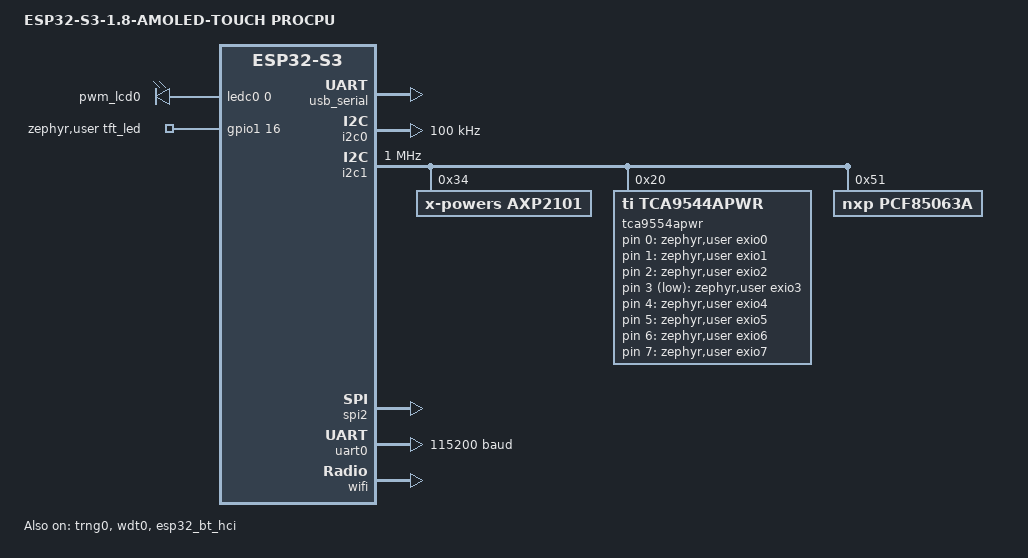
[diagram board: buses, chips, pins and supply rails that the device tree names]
/*
* Copyright (c) 2024 Joel Guittet
* SPDX-License-Identifier: Apache-2.0
*/

/dts-v1/;
#include <espressif/esp32s3/esp32s3_r8.dtsi>
#include "esp32s3_1_8_amoled_touch-pinctrl.dtsi"
#include <zephyr/dt-bindings/display/panel.h>
#include <zephyr/dt-bindings/input/input-event-codes.h>
#include <zephyr/dt-bindings/pwm/pwm.h>
#include <espressif/partitions_0x0_amp_16M.dtsi>

/* 16MB flash */
&flash0 {
    reg = <0x0 DT_SIZE_M(16)>;
};

&usb_serial {
    status = "okay";
};

/ {
    model = "ESP32-S3-1.8-AMOLED-TOUCH PROCPU";
    compatible = "waveshare,esp32-s3-1.8-amoled-touch";
    
    chosen {
        zephyr,sram = &sram1;
        zephyr,console = &usb_serial;
        zephyr,shell-uart = &usb_serial;
        zephyr,flash = &flash0;
        zephyr,code-partition = &slot0_partition;
        // zephyr,display = &st7789v_st7789v_waveshare_172_320;
        zephyr,bt-hci = &esp32_bt_hci;
    };
    
    aliases {
        i2c-0 = &i2c0;
        i2c-1 = &i2c1;
        pwm-0 = &ledc0;
        pwm-lcd0 = &pwm_lcd0;
        uart-0 = &uart0;
        watchdog0 = &wdt0;
    };
    
    /* PWM */
    pwmleds {
        compatible = "pwm-leds";
        pwm_lcd0: pwm_lcd0 {
            pwms = <&ledc0 0 PWM_HZ(250) PWM_POLARITY_NORMAL>;
        };
    };
    
    zephyr,user {
        tft_led-gpios = <&gpio1 16 GPIO_ACTIVE_HIGH>;
    };
    
    // mipi_dsi_qspi {
    //     compatible = "zephyr,mipi-dbi-spi";
    //     spi-dev = <&spi2>;
    // };
};

&gpio0 {
    status = "okay";
};

&gpio1 {
    status = "okay";
};

&i2c0 {
    status = "okay";
    clock-frequency = <I2C_BITRATE_STANDARD>;
    pinctrl-0 = <&i2c0_default>;
    pinctrl-names = "default";
};

&i2c1 {
    status = "okay";
    clock-frequency = <I2C_BITRATE_FAST_PLUS>;
    pinctrl-0 = <&i2c1_default>;
    pinctrl-names = "default";
    
    
};

&ledc0 {
    status = "disabled";
    pinctrl-0 = <&ledc0_default>;
    pinctrl-names = "default";
    #address-cells = <1>;
    #size-cells = <0>;
};

&spi2 {
    status = "okay";
    #address-cells = <1>;
    #size-cells = <0>;
    pinctrl-0 = <&spim2_default>;
    pinctrl-names = "default";
};

&trng0 {
    status = "okay";
};

&uart0 {
    status = "okay";
    current-speed = <115200>;
    pinctrl-0 = <&uart0_default>;
    pinctrl-names = "default";
};

&wdt0 {
    status = "okay";
};

&esp32_bt_hci {
    status = "okay";
};

&wifi {
    status = "okay";
};

/* ================================================================ */
/* AX2101 Charger PMIC */
/* ================================================================ */

/ {
    aliases {
        axp2101 = &axp2101;
    };
};

&i2c1 {
    /* AXP2101 Charger PMIC */
    axp2101: axp2101@34 {
        compatible = "x-powers,axp2101";
        reg = <0x34>;
        status = "okay";
        
        regulators {
            compatible = "x-powers,axp2101-regulator";
            status = "okay";
            
            DCDC1: DCDC1 {
                #power-domain-cells=<0>;
                regulator-boot-on;
                regulator-always-on;
                regulator-init-microvolt = <3300000>;
            };
            DCDC2: DCDC2 {
                #power-domain-cells=<0>;
                regulator-boot-on;
                regulator-always-on;
                regulator-init-microvolt = <900000>;
            };
            DCDC3: DCDC3 {
                #power-domain-cells=<0>;
                regulator-boot-on;
                regulator-always-on;
                regulator-init-microvolt = <1200000>;
            };
            DCDC4: DCDC4 {
                #power-domain-cells=<0>;
                regulator-boot-on;
                regulator-always-on;
                regulator-init-microvolt = <1800000>;
            };
            DCDC5: DCDC5 {
                #power-domain-cells=<0>;
                regulator-boot-off;
            };
            LDOA1: LDOA1 {
                #power-domain-cells=<0>;
                regulator-boot-on;
                regulator-always-on;
                regulator-init-microvolt = <3300000>;
            };
            LDOA2: LDOA2 {
                #power-domain-cells=<0>;
                regulator-boot-on;
                regulator-always-on;
                regulator-init-microvolt = <3300000>;
            };
            LDOA3: LDOA3 {
                #power-domain-cells=<0>;
                regulator-boot-on;
                regulator-always-on;
                regulator-init-microvolt = <3000000>;
            };
            LDOA4: LDOA4 {
                #power-domain-cells=<0>;
                regulator-boot-on;
                regulator-always-on;
                regulator-init-microvolt = <1800000>;
            };
            LDOB1: LDOB1 {
                #power-domain-cells=<0>;
                regulator-boot-on;
                regulator-always-on;
                regulator-init-microvolt = <1200000>;
            };
            LDOB2: LDOB2 {
                #power-domain-cells=<0>;
                regulator-boot-on;
                regulator-always-on;
                regulator-init-microvolt = <2800000>;
            };
            LDOC: LDOC {
                #power-domain-cells=<0>;
                regulator-boot-on;
                regulator-always-on;
                regulator-init-microvolt = <1200000>;
            };
            LDOD1: LDOD1 {
                #power-domain-cells=<0>;
                /* all properties for LDOD1 */
            };
            LDOD2: LDOD2 {
                #power-domain-cells=<0>;
                /* all properties for LDOD2 */
            };
        };
    };
};

/* ================================================================ */
/* TCA9554 GPIO Expander */
/* ================================================================ */

/ {
    aliases {
        tca9554apwr = &tca9554apwr;
    };
    
    zephyr,user {
        exio0-gpios = <&tca9554apwr 0 GPIO_ACTIVE_HIGH>;
        exio1-gpios = <&tca9554apwr 1 GPIO_ACTIVE_HIGH>;
        exio2-gpios = <&tca9554apwr 2 GPIO_ACTIVE_HIGH>;
        exio3-gpios = <&tca9554apwr 3 GPIO_ACTIVE_LOW>;
        exio4-gpios = <&tca9554apwr 4 GPIO_ACTIVE_HIGH>;
        exio5-gpios = <&tca9554apwr 5 GPIO_ACTIVE_HIGH>;
        exio6-gpios = <&tca9554apwr 6 GPIO_ACTIVE_HIGH>;
        exio7-gpios = <&tca9554apwr 7 GPIO_ACTIVE_HIGH>;
    };
};

&i2c1 {
    /**
    * TCA9554 GPIO Expander
    * PCA9554 is a register compatible low-power GPIO expander
    */
    tca9554apwr: tca9554apwr@20 {
        compatible = "ti,tca9544apwr";
        reg = <0x20>;
        gpio-controller;
        ngpios=<0x8>;
        // power-domains=<&DCDC1>;
        #gpio-cells= <0x2>;
        status = "okay";
    };
    
};

/* ================================================================ */
/* ES8311 Audio Codec */
/* ================================================================ */

/* ================================================================ */
/* QMI8658C IMU */
/* ================================================================ */

/* ================================================================ */
/* PCF85063ATL RTC */
/* ================================================================ */

&i2c1 {
    pcf85063a: pcf85063a@51 {
        compatible = "nxp,pcf85063a";
        reg = <0x51>;
        status = "okay";
    };
};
